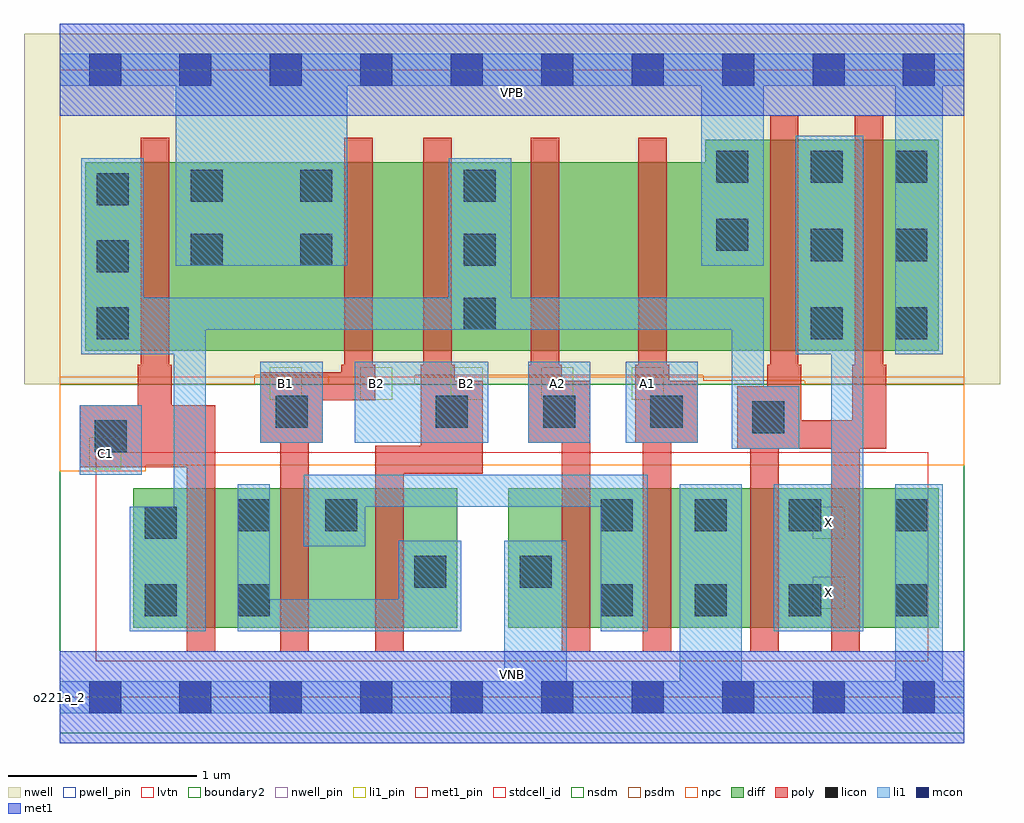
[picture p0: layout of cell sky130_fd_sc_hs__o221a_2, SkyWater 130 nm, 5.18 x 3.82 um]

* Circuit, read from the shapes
.subckt sky130_fd_sc_hs__o221a_2 A1 A2 B1 B2 C1 VGND VNB VPB VPWR X
XM1 n1 C1 n2 VNB sky130_fd_pr__nfet_01v8_lvt w=0.74 l=0.15
XM2 n3 B1 n1 VNB sky130_fd_pr__nfet_01v8_lvt w=0.74 l=0.15
XM3 n1 B2 n3 VNB sky130_fd_pr__nfet_01v8_lvt w=0.74 l=0.15
XM4 n3 A2 VGND VNB sky130_fd_pr__nfet_01v8_lvt w=0.74 l=0.15
XM5 VGND A1 n3 VNB sky130_fd_pr__nfet_01v8_lvt w=0.74 l=0.15
XM6 X n2 VGND VNB sky130_fd_pr__nfet_01v8_lvt w=0.74 l=0.15 m=2
XM7 VPWR C1 n2 VPB sky130_fd_pr__pfet_01v8 w=1 l=0.15
XM8 n4 B1 VPWR VPB sky130_fd_pr__pfet_01v8 w=1 l=0.15
XM9 n2 B2 n4 VPB sky130_fd_pr__pfet_01v8 w=1 l=0.15
XM10 n5 A2 n2 VPB sky130_fd_pr__pfet_01v8 w=1 l=0.15
XM11 VPWR A1 n5 VPB sky130_fd_pr__pfet_01v8 w=1 l=0.15
XM12 X n2 VPWR VPB sky130_fd_pr__pfet_01v8 w=1.12 l=0.15 m=2
.ends

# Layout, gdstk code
import gdstk
lib = gdstk.Library(unit=1e-6, precision=1e-09)
def R(c, l, rs):  # rectangles x0, y0, x1, y1
    for r in rs: c.add(gdstk.rectangle(r[:2], r[2:], *l))
def A(c, l, x, y, w, h, nx, ny, dx, dy):  # array of equal rectangles
    R(c, l, [(x+i*dx, y+j*dy, x+i*dx+w, y+j*dy+h) for i in range(nx) for j in range(ny)])
def P(c, l, *ps):  # polygons
    for p in ps: c.add(gdstk.Polygon(p, *l))
nwell_pin = (64, 16)
nwell = (64, 20)
diff = (65, 20)
poly = (66, 20)
licon = (66, 44)
li1_pin = (67, 16)
li1 = (67, 20)
mcon = (67, 44)
met1_pin = (68, 16)
met1 = (68, 20)
stdcell_id = (81, 4)
nsdm = (93, 44)
psdm = (94, 20)
npc = (95, 20)
pwell_pin = (122, 16)
lvtn = (125, 44)
boundary2 = (236, 0)

sky130_fd_sc_hs__o221a_2 = lib.new_cell('sky130_fd_sc_hs__o221a_2')
R(sky130_fd_sc_hs__o221a_2, nwell_pin, [(0,3.085,4.8,3.33)])
R(sky130_fd_sc_hs__o221a_2, nwell, [(-0.19,1.66,4.99,3.52)])
R(sky130_fd_sc_hs__o221a_2, diff, [(0.39,0.37,2.11,1.11), (2.38,0.37,4.665,1.11)])
P(sky130_fd_sc_hs__o221a_2, diff, [(4.665,2.96),(3.425,2.96),(3.425,2.84),(0.135,2.84),(0.135,1.84),(4.665,1.84)])
P(sky130_fd_sc_hs__o221a_2, poly, [(4.385,1.765),(4.37,1.765),(4.37,3.09),(4.22,3.09),(4.22,1.765),(4.205,1.765),(4.205,1.47),(3.935,1.47),(3.935,1.765),(3.92,1.765),(3.92,3.09),(3.77,3.09),(3.77,1.765),(3.755,1.765),(3.755,1.65),(3.595,1.65),(3.595,1.32),(3.665,1.32),(3.665,0.24),(3.815,0.24),(3.815,1.32),(4.095,1.32),(4.095,0.24),(4.245,0.24),(4.245,1.32),(4.385,1.32)],
  [(3.385,1.68),(3.235,1.68),(3.235,1.765),(3.22,1.765),(3.22,2.97),(3.07,2.97),(3.07,1.765),(3.055,1.765),(3.055,1.35),(3.095,1.35),(3.095,0.24),(3.245,0.24),(3.245,1.35),(3.385,1.35)],
  [(2.815,1.68),(2.665,1.68),(2.665,1.765),(2.65,1.765),(2.65,2.97),(2.5,2.97),(2.5,1.765),(2.485,1.765),(2.485,1.35),(2.665,1.35),(2.665,0.24),(2.815,0.24)],
  [(2.245,1.68),(2.095,1.68),(2.095,1.765),(2.08,1.765),(2.08,2.97),(1.93,2.97),(1.93,1.765),(1.915,1.765),(1.915,1.335),(1.675,1.335),(1.675,0.24),(1.825,0.24),(1.825,1.185),(2.245,1.185)],
  [(1.675,1.765),(1.66,1.765),(1.66,2.97),(1.51,2.97),(1.51,1.765),(1.495,1.765),(1.495,1.725),(1.065,1.725),(1.065,1.35),(1.17,1.35),(1.17,0.24),(1.32,0.24),(1.32,1.35),(1.395,1.35),(1.395,1.575),(1.675,1.575)],
  [(0.825,1.55),(0.595,1.55),(0.595,1.765),(0.58,1.765),(0.58,2.97),(0.43,2.97),(0.43,1.765),(0.415,1.765),(0.415,1.55),(0.105,1.55),(0.105,1.22),(0.675,1.22),(0.675,0.24),(0.825,0.24)])
A(sky130_fd_sc_hs__o221a_2, licon, 2.87, 0.43, 0.17, 0.17, 3, 2, 0.5, 0.45)
A(sky130_fd_sc_hs__o221a_2, licon, 1.995, 1.43, 0.17, 0.17, 3, 1, 0.57, 0)
A(sky130_fd_sc_hs__o221a_2, licon, 0.195, 1.9, 0.17, 0.17, 1, 3, 0, 0.355)
A(sky130_fd_sc_hs__o221a_2, licon, 3.985, 1.9, 0.17, 0.17, 1, 3, 0, 0.415)
A(sky130_fd_sc_hs__o221a_2, licon, 4.435, 1.9, 0.17, 0.17, 1, 3, 0, 0.415)
A(sky130_fd_sc_hs__o221a_2, licon, 2.145, 1.95, 0.17, 0.17, 1, 3, 0, 0.34)
R(sky130_fd_sc_hs__o221a_2, licon, [(0.45,0.43,0.62,0.6), (0.945,0.43,1.115,0.6), (4.435,0.43,4.605,0.6), (1.88,0.58,2.05,0.75), (2.44,0.58,2.61,0.75), (0.45,0.84,0.62,1.01), (0.945,0.88,1.115,1.05), (1.41,0.88,1.58,1.05), (4.435,0.88,4.605,1.05), (0.185,1.3,0.355,1.47), (3.675,1.4,3.845,1.57), (1.145,1.43,1.315,1.6), (0.695,2.29,0.865,2.46), (1.275,2.29,1.445,2.46), (3.485,2.37,3.655,2.54), (0.695,2.63,0.865,2.8), (1.275,2.63,1.445,2.8), (3.485,2.73,3.655,2.9)])
A(sky130_fd_sc_hs__o221a_2, li1_pin, 1.115, 1.58, 0.17, 0.17, 5, 1, 0.48, 0)
R(sky130_fd_sc_hs__o221a_2, li1_pin, [(3.995,0.47,4.165,0.64), (3.995,0.84,4.165,1.01), (0.155,1.21,0.325,1.38)])
R(sky130_fd_sc_hs__o221a_2, li1, [(0.105,1.18,0.435,1.55), (1.065,1.35,1.395,1.78), (1.565,1.35,2.275,1.78), (2.485,1.35,2.815,1.78), (3.005,1.35,3.385,1.78)])
P(sky130_fd_sc_hs__o221a_2, li1, [(0,-0.085),(0,0.085),(2.36,0.085),(2.36,0.83),(2.69,0.83),(2.69,0.085),(3.29,0.085),(3.29,1.13),(3.62,1.13),(3.62,0.085),(4.435,0.085),(4.435,1.13),(4.685,1.13),(4.685,0.085),(4.8,0.085),(4.8,-0.085)],
  [(0,3.245),(0,3.415),(4.8,3.415),(4.8,3.245),(4.685,3.245),(4.685,1.82),(4.435,1.82),(4.435,3.245),(3.735,3.245),(3.735,2.29),(3.405,2.29),(3.405,3.245),(1.525,3.245),(1.525,2.29),(0.615,2.29),(0.615,3.245)],
  [(3.79,0.35),(3.79,1.13),(4.095,1.13),(4.095,1.82),(3.905,1.82),(3.905,2.98),(4.265,2.98),(4.265,0.35)],
  [(2.395,2.12),(3.735,2.12),(3.735,1.65),(3.925,1.65),(3.925,1.32),(3.565,1.32),(3.565,1.95),(0.775,1.95),(0.775,0.35),(0.37,0.35),(0.37,1.01),(0.605,1.01),(0.605,1.82),(0.115,1.82),(0.115,2.86),(0.445,2.86),(0.445,2.12),(2.065,2.12),(2.065,2.86),(2.395,2.86)],
  [(3.12,1.18),(3.12,0.35),(2.87,0.35),(2.87,1.01),(1.62,1.01),(1.62,0.8),(1.295,0.8),(1.295,1.18)],
  [(1.8,0.52),(1.8,0.83),(2.13,0.83),(2.13,0.35),(0.945,0.35),(0.945,1.13),(1.115,1.13),(1.115,0.52)])
A(sky130_fd_sc_hs__o221a_2, mcon, 0.155, -0.085, 0.17, 0.17, 10, 2, 0.48, 3.33)
R(sky130_fd_sc_hs__o221a_2, met1_pin, [(0,0,4.8,0.245), (0,3.085,4.8,3.33)])
R(sky130_fd_sc_hs__o221a_2, met1, [(0,-0.245,4.8,0.245), (0,3.085,4.8,3.575)])
R(sky130_fd_sc_hs__o221a_2, stdcell_id, [(0,0,4.8,3.33)])
R(sky130_fd_sc_hs__o221a_2, nsdm, [(0,-0.19,4.8,1.66)])
P(sky130_fd_sc_hs__o221a_2, psdm, [(4.8,3.52),(0,3.52),(0,1.66),(1.035,1.66),(1.035,1.71),(1.425,1.71),(1.425,1.66),(1.885,1.66),(1.885,1.71),(3.415,1.71),(3.415,1.68),(3.955,1.68),(3.955,1.66),(4.8,1.66)])
P(sky130_fd_sc_hs__o221a_2, npc, [(4.8,1.7),(0,1.7),(0,1.2),(0.455,1.2),(0.455,1.23),(4.8,1.23)])
R(sky130_fd_sc_hs__o221a_2, pwell_pin, [(0,0,4.8,0.245)])
R(sky130_fd_sc_hs__o221a_2, lvtn, [(0.19,0.19,4.61,1.3)])
R(sky130_fd_sc_hs__o221a_2, boundary2, [(0,0,4.8,3.33)])
sky130_fd_sc_hs__o221a_2.add(gdstk.Label('o221a_2', (0,0), layer=83, texttype=44))
sky130_fd_sc_hs__o221a_2.add(gdstk.Label('VNB', (2.4,0.123), layer=64, texttype=59))
sky130_fd_sc_hs__o221a_2.add(gdstk.Label('VPB', (2.4,3.208), layer=64, texttype=5))
sky130_fd_sc_hs__o221a_2.add(gdstk.Label('VPWR', (2.4,3.208), layer=68, texttype=5))
sky130_fd_sc_hs__o221a_2.add(gdstk.Label('VGND', (2.4,0.123), layer=68, texttype=5))
sky130_fd_sc_hs__o221a_2.add(gdstk.Label('A1', (3.12,1.665), layer=67, texttype=5))
sky130_fd_sc_hs__o221a_2.add(gdstk.Label('A2', (2.64,1.665), layer=67, texttype=5))
sky130_fd_sc_hs__o221a_2.add(gdstk.Label('B2', (1.68,1.665), layer=67, texttype=5))
sky130_fd_sc_hs__o221a_2.add(gdstk.Label('B2', (2.16,1.665), layer=67, texttype=5))
sky130_fd_sc_hs__o221a_2.add(gdstk.Label('C1', (0.24,1.295), layer=67, texttype=5))
sky130_fd_sc_hs__o221a_2.add(gdstk.Label('X', (4.08,0.555), layer=67, texttype=5))
sky130_fd_sc_hs__o221a_2.add(gdstk.Label('X', (4.08,0.925), layer=67, texttype=5))
sky130_fd_sc_hs__o221a_2.add(gdstk.Label('B1', (1.2,1.665), layer=67, texttype=5))

lib.write_gds('sky130_fd_sc_hs__o221a_2.gds')
